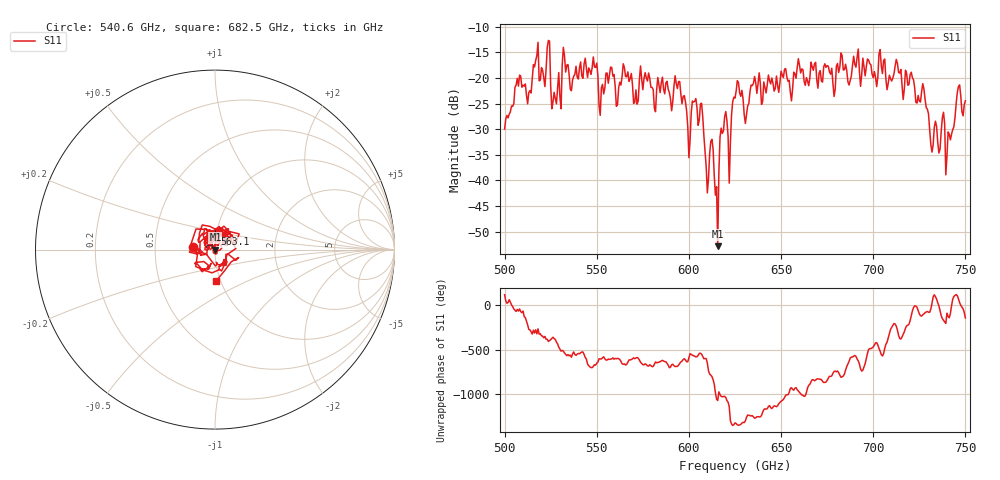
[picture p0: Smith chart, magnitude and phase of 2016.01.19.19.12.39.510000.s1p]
!Created with skrf (http://scikit-rf.org).
# GHz S RI R 50.0
!freq ReS11 ImS11
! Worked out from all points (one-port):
!   401 points, 500 GHz to 750 GHz, reference 50 ohm
!   lowest |S11| = -52.8 dB at 615.6 GHz (marker M1), VSWR 1.00, Z = 50.2 + j0.049 ohm
!   |S11| at or under -10 dB: start of sweep to end of sweep
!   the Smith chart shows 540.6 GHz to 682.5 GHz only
!   S11 on the Smith chart (normalised r, x): 540.6 GHz: 0.78, +0.02; 563.1 GHz: 0.99, +0.17; 682.5 GHz: 0.95, -0.34
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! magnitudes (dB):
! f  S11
! 500 GHz  -30.0
! 507.5 GHz  -21.6
! 513.1 GHz  -22.8
! 516.9 GHz  -16.5
! 523.8 GHz  -12.7
! 526.9 GHz  -22.8
! 531.2 GHz  -17.5
! 540.6 GHz  -18.0
! 562.5 GHz  -20.8
! 563.1 GHz  -21.4
! 593.8 GHz  -22.1
! 600 GHz  -35.6
! 602.5 GHz  -24.7
! 606.9 GHz  -24.9
! 609.4 GHz  -37.4
! 612.5 GHz  -32.0
! 615.6 GHz  -52.8
! 618.1 GHz  -30.8
! 621.9 GHz  -40.5
! 625 GHz  -23.9
! 631.2 GHz  -27.2
! 656.2 GHz  -22.2
! 682.5 GHz  -15.1
! 687.5 GHz  -20.5
! 718.8 GHz  -21.4
! 740.6 GHz  -30.5
! 746.2 GHz  -21.6
! 750 GHz  -24.4
